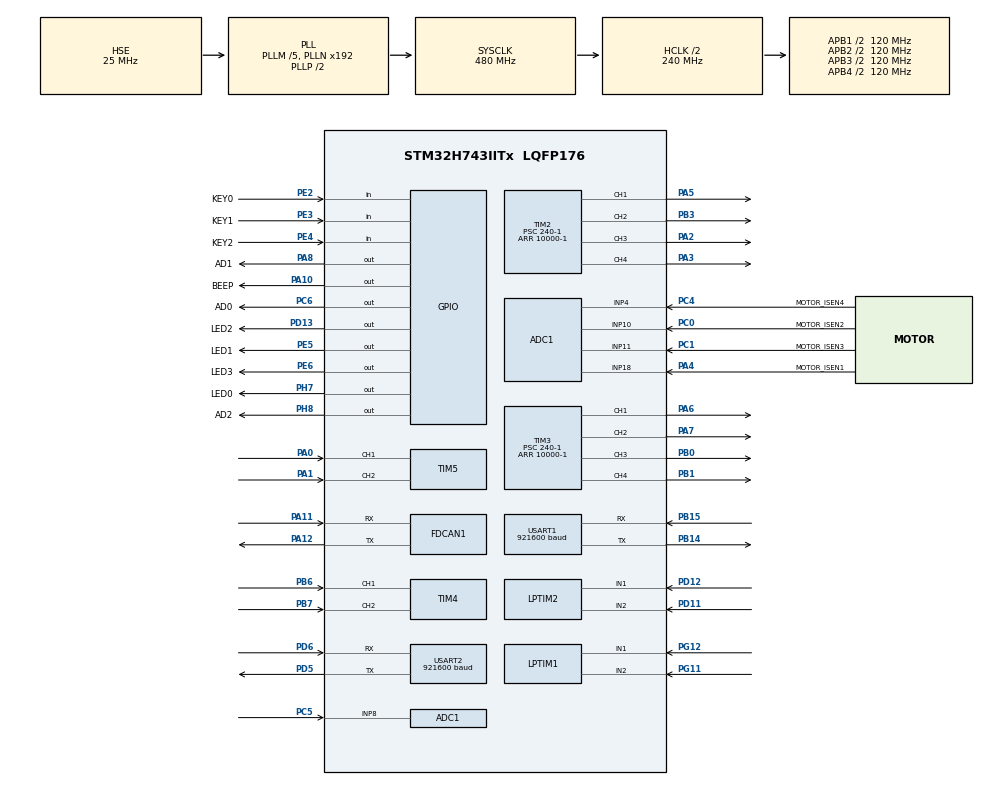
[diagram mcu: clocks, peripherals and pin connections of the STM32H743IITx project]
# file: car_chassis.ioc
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ADC1.Channel-0\#ChannelRegularConversion=ADC_CHANNEL_18
ADC1.Channel-1\#ChannelRegularConversion=ADC_CHANNEL_10
ADC1.Channel-2\#ChannelRegularConversion=ADC_CHANNEL_11
ADC1.Channel-3\#ChannelRegularConversion=ADC_CHANNEL_4
ADC1.Channel-4\#ChannelRegularConversion=ADC_CHANNEL_8
ADC1.NbrOfConversion=5
ADC1.NbrOfConversionFlag=1
ADC1.OffsetNumber-0\#ChannelRegularConversion=ADC_OFFSET_NONE
ADC1.OffsetNumber-1\#ChannelRegularConversion=ADC_OFFSET_NONE
ADC1.OffsetNumber-2\#ChannelRegularConversion=ADC_OFFSET_NONE
ADC1.OffsetNumber-3\#ChannelRegularConversion=ADC_OFFSET_NONE
ADC1.OffsetNumber-4\#ChannelRegularConversion=ADC_OFFSET_NONE
ADC1.OffsetSignedSaturation-0\#ChannelRegularConversion=DISABLE
ADC1.OffsetSignedSaturation-1\#ChannelRegularConversion=DISABLE
ADC1.OffsetSignedSaturation-2\#ChannelRegularConversion=DISABLE
ADC1.OffsetSignedSaturation-3\#ChannelRegularConversion=DISABLE
ADC1.OffsetSignedSaturation-4\#ChannelRegularConversion=DISABLE
ADC1.Rank-0\#ChannelRegularConversion=1
ADC1.Rank-1\#ChannelRegularConversion=2
ADC1.Rank-2\#ChannelRegularConversion=3
ADC1.Rank-3\#ChannelRegularConversion=4
ADC1.Rank-4\#ChannelRegularConversion=5
ADC1.SamplingTime-0\#ChannelRegularConversion=ADC_SAMPLETIME_64CYCLES_5
ADC1.SamplingTime-1\#ChannelRegularConversion=ADC_SAMPLETIME_64CYCLES_5
ADC1.SamplingTime-2\#ChannelRegularConversion=ADC_SAMPLETIME_64CYCLES_5
ADC1.SamplingTime-3\#ChannelRegularConversion=ADC_SAMPLETIME_64CYCLES_5
ADC1.SamplingTime-4\#ChannelRegularConversion=ADC_SAMPLETIME_64CYCLES_5
ADC1.master=1
CORTEX_M7.default_mode_Activation=1
Dma.Request0=USART1_RX
Dma.Request1=USART1_TX
Dma.USART1_RX.0.Direction=DMA_PERIPH_TO_MEMORY
Dma.USART1_RX.0.EventEnable=DISABLE
Dma.USART1_RX.0.FIFOMode=DMA_FIFOMODE_DISABLE
Dma.USART1_RX.0.Instance=DMA1_Stream0
Dma.USART1_RX.0.MemDataAlignment=DMA_MDATAALIGN_BYTE
Dma.USART1_RX.0.MemInc=DMA_MINC_ENABLE
Dma.USART1_RX.0.Mode=DMA_NORMAL
Dma.USART1_RX.0.PeriphDataAlignment=DMA_PDATAALIGN_BYTE
Dma.USART1_RX.0.PeriphInc=DMA_PINC_DISABLE
Dma.USART1_RX.0.Polarity=HAL_DMAMUX_REQ_GEN_RISING
Dma.USART1_RX.0.Priority=DMA_PRIORITY_MEDIUM
Dma.USART1_RX.0.RequestNumber=1
Dma.USART1_RX.0.SignalID=NONE
Dma.USART1_RX.0.SyncEnable=DISABLE
Dma.USART1_RX.0.SyncPolarity=HAL_DMAMUX_SYNC_NO_EVENT
Dma.USART1_RX.0.SyncRequestNumber=1
Dma.USART1_RX.0.SyncSignalID=NONE
Dma.USART1_TX.1.Direction=DMA_MEMORY_TO_PERIPH
Dma.USART1_TX.1.EventEnable=DISABLE
Dma.USART1_TX.1.FIFOMode=DMA_FIFOMODE_DISABLE
Dma.USART1_TX.1.Instance=DMA1_Stream1
Dma.USART1_TX.1.MemDataAlignment=DMA_MDATAALIGN_BYTE
Dma.USART1_TX.1.MemInc=DMA_MINC_ENABLE
Dma.USART1_TX.1.Mode=DMA_NORMAL
Dma.USART1_TX.1.PeriphDataAlignment=DMA_PDATAALIGN_BYTE
Dma.USART1_TX.1.PeriphInc=DMA_PINC_DISABLE
Dma.USART1_TX.1.Polarity=HAL_DMAMUX_REQ_GEN_RISING
Dma.USART1_TX.1.Priority=DMA_PRIORITY_MEDIUM
Dma.USART1_TX.1.RequestNumber=1
Dma.USART1_TX.1.SignalID=NONE
Dma.USART1_TX.1.SyncEnable=DISABLE
Dma.USART1_TX.1.SyncPolarity=HAL_DMAMUX_SYNC_NO_EVENT
Dma.USART1_TX.1.SyncRequestNumber=1
Dma.USART1_TX.1.SyncSignalID=NONE
FDCAN1.CalculateBaudRateNominal=1000000
FDCAN1.CalculateTimeBitNominal=1000
FDCAN1.CalculateTimeQuantumNominal=50.0
FDCAN1.NominalPrescaler=6
FDCAN1.NominalTimeSeg1=15
FDCAN1.NominalTimeSeg2=4
FDCAN1.RxFifo0ElmtsNbr=8
FDCAN1.StdFiltersNbr=1
FDCAN1.TxFifoQueueElmtsNbr=4
FREERTOS.Tasks01=defaultTask,24,128,StartDefaultTask,Default,NULL,Dynamic,NULL,NULL
FREERTOS.configENABLE_FPU=1
FREERTOS.configUSE_NEWLIB_REENTRANT=0
Mcu.Family=STM32H7
Mcu.Name=STM32H743IITx
Mcu.Package=LQFP176
NVIC.DMA1_Stream0_IRQn=true\:5\:0\:false\:false\:true\:true\:false\:true\:true
NVIC.DMA1_Stream1_IRQn=true\:5\:0\:false\:false\:true\:true\:false\:true\:true
NVIC.FDCAN1_IT0_IRQn=true\:5\:0\:false\:false\:true\:true\:true\:true\:true
NVIC.PriorityGroup=NVIC_PRIORITYGROUP_4
NVIC.TIM17_IRQn=true\:15\:0\:false\:false\:true\:false\:false\:true\:true
NVIC.TIM6_DAC_IRQn=true\:5\:0\:false\:false\:true\:true\:true\:true\:true
NVIC.TimeBase=TIM17_IRQn
NVIC.TimeBaseIP=TIM17
NVIC.USART1_IRQn=true\:5\:0\:false\:false\:true\:true\:true\:true\:true
PA0.Signal=S_TIM5_CH1
PA1.Signal=S_TIM5_CH2
PA10.GPIO_Label=BEEP
PA10.Signal=GPIO_Output
PA11.Mode=FDCAN_Activate
PA11.Signal=FDCAN1_RX
PA12.Mode=FDCAN_Activate
PA12.Signal=FDCAN1_TX
PA13\ (JTMS/SWDIO).Mode=Serial_Wire
PA13\ (JTMS/SWDIO).Signal=DEBUG_JTMS-SWDIO
PA14\ (JTCK/SWCLK).Mode=Serial_Wire
PA14\ (JTCK/SWCLK).Signal=DEBUG_JTCK-SWCLK
PA2.Signal=S_TIM2_CH3
PA3.Signal=S_TIM2_CH4
PA4.GPIO_Label=MOTOR_ISEN1
PA4.Signal=ADCx_INP18
PA5.Signal=S_TIM2_CH1_ETR
PA6.Signal=S_TIM3_CH1
PA7.Signal=S_TIM3_CH2
PA8.GPIO_Label=AD1
PA8.GPIO_Speed=GPIO_SPEED_FREQ_VERY_HIGH
PA8.PinState=GPIO_PIN_RESET
PA8.Signal=GPIO_Output
PB0.Signal=S_TIM3_CH3
PB1.Signal=S_TIM3_CH4
PB14.Mode=Asynchronous
PB14.Signal=USART1_TX
PB15.Mode=Asynchronous
PB15.Signal=USART1_RX
PB3\ (JTDO/TRACESWO).Signal=S_TIM2_CH2
PB6.Signal=S_TIM4_CH1
PB7.Signal=S_TIM4_CH2
PC0.GPIO_Label=MOTOR_ISEN2
PC0.Signal=ADCx_INP10
PC1.GPIO_Label=MOTOR_ISEN3
PC1.Signal=ADCx_INP11
PC4.GPIO_Label=MOTOR_ISEN4
PC4.Signal=ADCx_INP4
PC5.Signal=ADCx_INP8
PC6.GPIO_Label=AD0
PC6.GPIO_Speed=GPIO_SPEED_FREQ_VERY_HIGH
PC6.PinState=GPIO_PIN_RESET
PC6.Signal=GPIO_Output
PD11.Mode=Encoder_mode_occur1
PD11.Signal=LPTIM2_IN2
PD12.Mode=Encoder_mode_occur1
PD12.Signal=LPTIM2_IN1
PD13.GPIO_Label=LED2
PD13.Signal=GPIO_Output
PD5.Mode=Asynchronous
PD5.Signal=USART2_TX
PD6.Mode=Asynchronous
PD6.Signal=USART2_RX
PE2.GPIO_Label=KEY0
PE2.GPIO_PuPd=GPIO_PULLDOWN
PE2.Signal=GPIO_Input
PE3.GPIO_Label=KEY1
PE3.GPIO_PuPd=GPIO_PULLDOWN
PE3.Signal=GPIO_Input
PE4.GPIO_Label=KEY2
PE4.GPIO_PuPd=GPIO_PULLDOWN
PE4.Signal=GPIO_Input
PE5.GPIO_Label=LED1
PE5.Signal=GPIO_Output
PE6.GPIO_Label=LED3
PE6.Signal=GPIO_Output
PG11.Mode=Encoder_mode_occur1
PG11.Signal=LPTIM1_IN2
PG12.Mode=Encoder_mode_occur1
PG12.Signal=LPTIM1_IN1
PH0-OSC_IN\ (PH0).Mode=HSE-External-Oscillator
PH0-OSC_IN\ (PH0).Signal=RCC_OSC_IN
PH1-OSC_OUT\ (PH1).Mode=HSE-External-Oscillator
PH1-OSC_OUT\ (PH1).Signal=RCC_OSC_OUT
PH7.GPIO_Label=LED0
PH7.GPIO_Speed=GPIO_SPEED_FREQ_VERY_HIGH
PH7.PinState=GPIO_PIN_RESET
PH7.Signal=GPIO_Output
PH8.GPIO_Label=AD2
PH8.GPIO_Speed=GPIO_SPEED_FREQ_VERY_HIGH
PH8.PinState=GPIO_PIN_RESET
PH8.Signal=GPIO_Output
ProjectManager.HeapSize=0x200
ProjectManager.StackSize=0x400
ProjectManager.TargetToolchain=STM32CubeIDE
RCC.ADCFreq_Value=90000000
RCC.APB1Freq_Value=120000000
RCC.APB2Freq_Value=120000000
RCC.APB3Freq_Value=120000000
RCC.APB4Freq_Value=120000000
RCC.CortexFreq_Value=480000000
RCC.D1PPRE=RCC_APB3_DIV2
RCC.D2PPRE1=RCC_APB1_DIV2
RCC.D2PPRE2=RCC_APB2_DIV2
RCC.D3PPRE=RCC_APB4_DIV2
RCC.DIVM1=5
RCC.DIVM2=10
RCC.DIVN1=192
RCC.DIVN2=72
RCC.DIVQ1=8
RCC.HCLKFreq_Value=240000000
RCC.HPRE=RCC_HCLK_DIV2
RCC.PLLFRACN=0
RCC.PLLSourceVirtual=RCC_PLLSOURCE_HSE
RCC.SYSCLKFreq_VALUE=480000000
RCC.SYSCLKSource=RCC_SYSCLKSOURCE_PLLCLK
RCC.USBFreq_Value=120000000
SH.ADCx_INP10.0=ADC1_INP10,IN10-Single-Ended
SH.ADCx_INP11.0=ADC1_INP11,IN11-Single-Ended
SH.ADCx_INP18.0=ADC1_INP18,IN18-Single-Ended
SH.ADCx_INP4.0=ADC1_INP4,IN4-Single-Ended
SH.ADCx_INP8.0=ADC1_INP8,IN8-Single-Ended
SH.S_TIM2_CH1_ETR.0=TIM2_CH1,PWM Generation1 CH1
SH.S_TIM2_CH2.0=TIM2_CH2,PWM Generation2 CH2
SH.S_TIM2_CH3.0=TIM2_CH3,PWM Generation3 CH3
SH.S_TIM2_CH4.0=TIM2_CH4,PWM Generation4 CH4
SH.S_TIM3_CH1.0=TIM3_CH1,PWM Generation1 CH1
SH.S_TIM3_CH2.0=TIM3_CH2,PWM Generation2 CH2
SH.S_TIM3_CH3.0=TIM3_CH3,PWM Generation3 CH3
SH.S_TIM3_CH4.0=TIM3_CH4,PWM Generation4 CH4
SH.S_TIM4_CH1.0=TIM4_CH1,Encoder_Interface
SH.S_TIM4_CH2.0=TIM4_CH2,Encoder_Interface
SH.S_TIM5_CH1.0=TIM5_CH1,Encoder_Interface
SH.S_TIM5_CH2.0=TIM5_CH2,Encoder_Interface
TIM2.Channel-PWM\ Generation1\ CH1=TIM_CHANNEL_1
TIM2.Channel-PWM\ Generation2\ CH2=TIM_CHANNEL_2
TIM2.Channel-PWM\ Generation3\ CH3=TIM_CHANNEL_3
TIM2.Channel-PWM\ Generation4\ CH4=TIM_CHANNEL_4
TIM2.Period=10000-1
TIM2.Prescaler=240-1
TIM3.Channel-PWM\ Generation1\ CH1=TIM_CHANNEL_1
TIM3.Channel-PWM\ Generation2\ CH2=TIM_CHANNEL_2
TIM3.Channel-PWM\ Generation3\ CH3=TIM_CHANNEL_3
TIM3.Channel-PWM\ Generation4\ CH4=TIM_CHANNEL_4
TIM3.Period=10000-1
TIM3.Prescaler=240-1
TIM6.Period=2000-1
TIM6.Prescaler=2400-1
USART1.BaudRate=921600
USART1.VirtualMode-Asynchronous=VM_ASYNC
USART2.BaudRate=921600
USART2.VirtualMode-Asynchronous=VM_ASYNC
VP_FREERTOS_VS_CMSIS_V2.Mode=CMSIS_V2
VP_MEMORYMAP_VS_MEMORYMAP.Mode=CurAppReg
VP_SYS_VS_tim17.Mode=TIM17
VP_TIM6_VS_ClockSourceINT.Mode=Enable_Timer
board=custom

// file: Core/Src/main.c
/* USER CODE BEGIN Header */
/**
  ******************************************************************************
  * @file           : main.c
  * @brief          : Main program body
  ******************************************************************************
  * @attention
  *
  * Copyright (c) 2026 STMicroelectronics.
  * All rights reserved.
  *
  * This software is licensed under terms that can be found in the LICENSE file
  * in the root directory of this software component.
  * If no LICENSE file comes with this software, it is provided AS-IS.
  *
  ******************************************************************************
  */
/* USER CODE END Header */
#include "main.h"
#include "cmsis_os.h"
#include "adc.h"
#include "dma.h"
#include "fdcan.h"
#include "lptim.h"
#include "tim.h"
#include "usart.h"
#include "gpio.h"

/* USER CODE BEGIN Includes */
#include "robot.h"
#include "drv/drv8870/motor_ctrl.h"
#include "stm32h7xx_hal.h"
#include "stm32h7xx_hal_gpio.h"
#include "drv/btb_cmd/uart_protocol_dma.h"
/* USER CODE END Includes */

void SystemClock_Config(void);
static void MPU_Config(void);
void MX_FREERTOS_Init(void);

int main(void)
{

  /* MPU Configuration--------------------------------------------------------*/
  MPU_Config();

  /* MCU Configuration--------------------------------------------------------*/

  /* Reset of all peripherals, Initializes the Flash interface and the Systick. */
  HAL_Init();

  /* Configure the system clock */
  SystemClock_Config();

  /* Initialize all configured peripherals */
  MX_GPIO_Init();
  MX_DMA_Init();
  MX_FDCAN1_Init();
  MX_LPTIM1_Init();
  MX_LPTIM2_Init();
  MX_TIM2_Init();
  MX_TIM3_Init();
  MX_TIM4_Init();
  MX_TIM5_Init();
  MX_USART1_UART_Init();
  MX_TIM6_Init();
  MX_ADC1_Init();
  MX_USART2_UART_Init();
  /* USER CODE BEGIN 2 */
  // FDCAN滤波器配置: 接收IMU模块(0x11)的数据
  FDCAN_FilterTypeDef sFilterConfig;
  sFilterConfig.IdType = FDCAN_STANDARD_ID;
  sFilterConfig.FilterIndex = 0;
  sFilterConfig.FilterType = FDCAN_FILTER_MASK;
  sFilterConfig.FilterConfig = FDCAN_FILTER_TO_RXFIFO0;
  sFilterConfig.FilterID1 = 0x000;   // IMU模块CAN ID
  sFilterConfig.FilterID2 = 0x000; // 掩码: 精确匹配
  HAL_FDCAN_ConfigFilter(&hfdcan1, &sFilterConfig);

  /* 启动FDCAN1并使能RX FIFO0新消息中断 */
  HAL_FDCAN_Start(&hfdcan1);
  HAL_FDCAN_ActivateNotification(&hfdcan1, FDCAN_IT_RX_FIFO0_NEW_MESSAGE, 0);
  HAL_UART_Transmit(&huart1, (uint8_t *)"hello", sizeof("hello"), 100);
  /* 初始化串口DMA协议 (USART1) */
  Protocol_Init_DMA(&huart1);
  /* 初始化电机控制 (TIM6中断驱动) */
  Motor_Ctrl_Init();

  /* 初始化机器人系统 */
  robot_init();

  /* USER CODE END 2 */

  /* Init scheduler */
  osKernelInitialize();  /* Call init function for freertos objects (in cmsis_os2.c) */
  MX_FREERTOS_Init();

  /* Start scheduler */
  osKernelStart();

  /* We should never get here as control is now taken by the scheduler */

  /* Infinite loop */
  while (1)
  {

  }
}

void SystemClock_Config(void)
{
  RCC_OscInitTypeDef RCC_OscInitStruct = {0};
  RCC_ClkInitTypeDef RCC_ClkInitStruct = {0};

  /** Supply configuration update enable
  */
  HAL_PWREx_ConfigSupply(PWR_LDO_SUPPLY);

  /** Configure the main internal regulator output voltage
  */
  __HAL_PWR_VOLTAGESCALING_CONFIG(PWR_REGULATOR_VOLTAGE_SCALE0);

  while(!__HAL_PWR_GET_FLAG(PWR_FLAG_VOSRDY)) {}

  /** Initializes the RCC Oscillators according to the specified parameters
  * in the RCC_OscInitTypeDef structure.
  */
  RCC_OscInitStruct.OscillatorType = RCC_OSCILLATORTYPE_HSE;
  RCC_OscInitStruct.HSEState = RCC_HSE_ON;
  RCC_OscInitStruct.PLL.PLLState = RCC_PLL_ON;
  RCC_OscInitStruct.PLL.PLLSource = RCC_PLLSOURCE_HSE;
  RCC_OscInitStruct.PLL.PLLM = 5;
  RCC_OscInitStruct.PLL.PLLN = 192;
  RCC_OscInitStruct.PLL.PLLP = 2;
  RCC_OscInitStruct.PLL.PLLQ = 8;
  RCC_OscInitStruct.PLL.PLLR = 2;
  RCC_OscInitStruct.PLL.PLLRGE = RCC_PLL1VCIRANGE_2;
  RCC_OscInitStruct.PLL.PLLVCOSEL = RCC_PLL1VCOWIDE;
  RCC_OscInitStruct.PLL.PLLFRACN = 0;
  if (HAL_RCC_OscConfig(&RCC_OscInitStruct) != HAL_OK)
  {
    Error_Handler();
  }

  /** Initializes the CPU, AHB and APB buses clocks
  */
  RCC_ClkInitStruct.ClockType = RCC_CLOCKTYPE_HCLK|RCC_CLOCKTYPE_SYSCLK
                              |RCC_CLOCKTYPE_PCLK1|RCC_CLOCKTYPE_PCLK2
                              |RCC_CLOCKTYPE_D3PCLK1|RCC_CLOCKTYPE_D1PCLK1;
  RCC_ClkInitStruct.SYSCLKSource = RCC_SYSCLKSOURCE_PLLCLK;
  RCC_ClkInitStruct.SYSCLKDivider = RCC_SYSCLK_DIV1;
  RCC_ClkInitStruct.AHBCLKDivider = RCC_HCLK_DIV2;
  RCC_ClkInitStruct.APB3CLKDivider = RCC_APB3_DIV2;
  RCC_ClkInitStruct.APB1CLKDivider = RCC_APB1_DIV2;
  RCC_ClkInitStruct.APB2CLKDivider = RCC_APB2_DIV2;
  RCC_ClkInitStruct.APB4CLKDivider = RCC_APB4_DIV2;

  if (HAL_RCC_ClockConfig(&RCC_ClkInitStruct, FLASH_LATENCY_4) != HAL_OK)
  {
    Error_Handler();
  }
}

/* USER CODE END 4 */

 /* MPU Configuration */

void MPU_Config(void)
{
  MPU_Region_InitTypeDef MPU_InitStruct = {0};

  /* Disables the MPU */
  HAL_MPU_Disable();

  /** Initializes and configures the Region and the memory to be protected
  */
  MPU_InitStruct.Enable = MPU_REGION_ENABLE;
  MPU_InitStruct.Number = MPU_REGION_NUMBER0;
  MPU_InitStruct.BaseAddress = 0x0;
  MPU_InitStruct.Size = MPU_REGION_SIZE_4GB;
  MPU_InitStruct.SubRegionDisable = 0x87;
  MPU_InitStruct.TypeExtField = MPU_TEX_LEVEL0;
  MPU_InitStruct.AccessPermission = MPU_REGION_NO_ACCESS;
  MPU_InitStruct.DisableExec = MPU_INSTRUCTION_ACCESS_DISABLE;
  MPU_InitStruct.IsShareable = MPU_ACCESS_SHAREABLE;
  MPU_InitStruct.IsCacheable = MPU_ACCESS_NOT_CACHEABLE;
  MPU_InitStruct.IsBufferable = MPU_ACCESS_NOT_BUFFERABLE;

  HAL_MPU_ConfigRegion(&MPU_InitStruct);
  /* Enables the MPU */
  HAL_MPU_Enable(MPU_PRIVILEGED_DEFAULT);

}

void HAL_TIM_PeriodElapsedCallback(TIM_HandleTypeDef *htim)
{
  if (htim->Instance == TIM17)
  {
    HAL_IncTick();
  }
  /* USER CODE BEGIN Callback 1 */
  if (htim->Instance == TIM6) {
    Motor_Ctrl_Loop();
  }
  /* USER CODE END Callback 1 */
}

void Error_Handler(void)
{
  __disable_irq();
  while (1)
  {
  }
}

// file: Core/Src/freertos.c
/* USER CODE BEGIN Header */
/**
  ******************************************************************************
  * File Name          : freertos.c
  * Description        : Code for freertos applications
  ******************************************************************************
  * @attention
  *
  * Copyright (c) 2026 STMicroelectronics.
  * All rights reserved.
  *
  * This software is licensed under terms that can be found in the LICENSE file
  * in the root directory of this software component.
  * If no LICENSE file comes with this software, it is provided AS-IS.
  *
  ******************************************************************************
  */
/* USER CODE END Header */

#include "FreeRTOS.h"
#include "task.h"
#include "main.h"
#include "cmsis_os.h"

/* USER CODE BEGIN Includes */
#include "robot.h"
#include "rm_task.h"
/* USER CODE END Includes */

/* Definitions for defaultTask */
osThreadId_t defaultTaskHandle;
const osThreadAttr_t defaultTask_attributes = {
  .name = "defaultTask",
  .stack_size = 128 * 4,
  .priority = (osPriority_t) osPriorityNormal,
};

void StartDefaultTask(void *argument);

void MX_FREERTOS_Init(void); /* (MISRA C 2004 rule 8.1) */

void MX_FREERTOS_Init(void) {

  /* Create the thread(s) */
  /* creation of defaultTask */
  defaultTaskHandle = osThreadNew(StartDefaultTask, NULL, &defaultTask_attributes);

}

void StartDefaultTask(void *argument)
{
  /* USER CODE BEGIN StartDefaultTask */
  /* Infinite loop */
  for(;;)
  {
    HAL_GPIO_TogglePin(LED0_GPIO_Port, LED0_Pin);
    osDelay(250);
  }
  /* USER CODE END StartDefaultTask */
}
